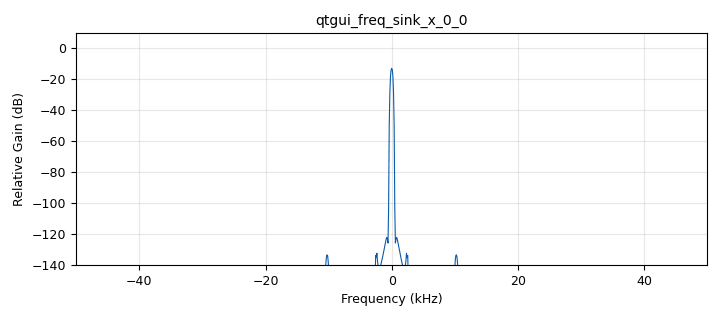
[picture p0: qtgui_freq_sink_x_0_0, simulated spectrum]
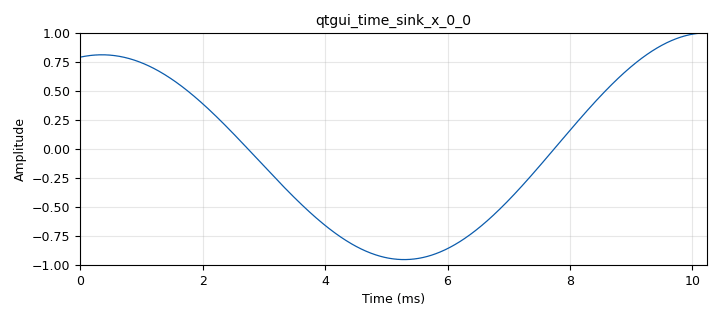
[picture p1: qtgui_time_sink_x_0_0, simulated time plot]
options:
  parameters:
    author: mmprk
    generate_options: qt_gui
    id: complexPlot
    output_language: python
    title: complexPlot
  states: {}

blocks:
- name: f1
  id: variable_qtgui_range
  parameters:
    start: '1'
    step: '1'
    stop: '1000'
    value: '10'
  states: {}
- name: f2
  id: variable_qtgui_range
  parameters:
    start: '1'
    step: '1'
    stop: '1000'
    value: '100'
  states: {}
- name: samp_rate
  id: variable
  parameters:
    value: 100e3
  states: {}
- name: analog_sig_source_x_0
  id: analog_sig_source_x
  parameters:
    amp: '1'
    freq: f1
    offset: '0'
    phase: '0'
    samp_rate: samp_rate
    type: complex
    waveform: analog.GR_COS_WAVE
  states: {state: disabled}
- name: analog_sig_source_x_0_0
  id: analog_sig_source_x
  parameters:
    amp: '1'
    freq: f1
    offset: '0'
    phase: '0'
    samp_rate: samp_rate
    type: float
    waveform: analog.GR_COS_WAVE
  states: {}
- name: analog_sig_source_x_0_0_0
  id: analog_sig_source_x
  parameters:
    amp: '1'
    freq: f2
    offset: '0'
    phase: '0'
    samp_rate: samp_rate
    type: complex
    waveform: analog.GR_COS_WAVE
  states: {state: disabled}
- name: analog_sig_source_x_0_0_0_0
  id: analog_sig_source_x
  parameters:
    amp: '1'
    freq: f2
    offset: '0'
    phase: '0'
    samp_rate: samp_rate
    type: float
    waveform: analog.GR_COS_WAVE
  states: {}
- name: blocks_multiply_xx_0
  id: blocks_multiply_xx
  parameters:
    type: complex
  states: {state: disabled}
- name: blocks_multiply_xx_0_0
  id: blocks_multiply_xx
  parameters:
    type: float
  states: {}
- name: blocks_throttle2_0
  id: blocks_throttle2
  parameters:
    samples_per_second: samp_rate
    type: complex
  states: {state: disabled}
- name: blocks_throttle2_0_0
  id: blocks_throttle2
  parameters:
    samples_per_second: samp_rate
    type: float
  states: {}
- name: qtgui_const_sink_x_0
  id: qtgui_const_sink_x
  parameters:
    size: '1024'
    type: complex
  states: {state: disabled}
- name: qtgui_freq_sink_x_0
  id: qtgui_freq_sink_x
  parameters:
    bw: samp_rate
    fc: '0'
    fftsize: '1024'
    type: complex
  states: {state: disabled}
- name: qtgui_freq_sink_x_0_0
  id: qtgui_freq_sink_x
  parameters:
    bw: samp_rate
    fc: '0'
    fftsize: '1024'
    type: float
  states: {}
- name: qtgui_time_sink_x_0
  id: qtgui_time_sink_x
  parameters:
    ctrlpanel: 'True'
    size: '1024'
    srate: samp_rate
    type: complex
  states: {state: disabled}
- name: qtgui_time_sink_x_0_0
  id: qtgui_time_sink_x
  parameters:
    ctrlpanel: 'True'
    size: '1024'
    srate: samp_rate
    type: float
  states: {}

connections:
- [analog_sig_source_x_0, '0', blocks_multiply_xx_0, '0']
- [analog_sig_source_x_0_0, '0', blocks_multiply_xx_0_0, '0']
- [analog_sig_source_x_0_0_0, '0', blocks_multiply_xx_0, '1']
- [analog_sig_source_x_0_0_0_0, '0', blocks_multiply_xx_0_0, '1']
- [blocks_multiply_xx_0, '0', blocks_throttle2_0, '0']
- [blocks_multiply_xx_0_0, '0', blocks_throttle2_0_0, '0']
- [blocks_throttle2_0, '0', qtgui_const_sink_x_0, '0']
- [blocks_throttle2_0, '0', qtgui_freq_sink_x_0, '0']
- [blocks_throttle2_0, '0', qtgui_time_sink_x_0, '0']
- [blocks_throttle2_0_0, '0', qtgui_freq_sink_x_0_0, '0']
- [blocks_throttle2_0_0, '0', qtgui_time_sink_x_0_0, '0']

metadata:
  file_format: 1
  grc_version: 3.10.6.0
